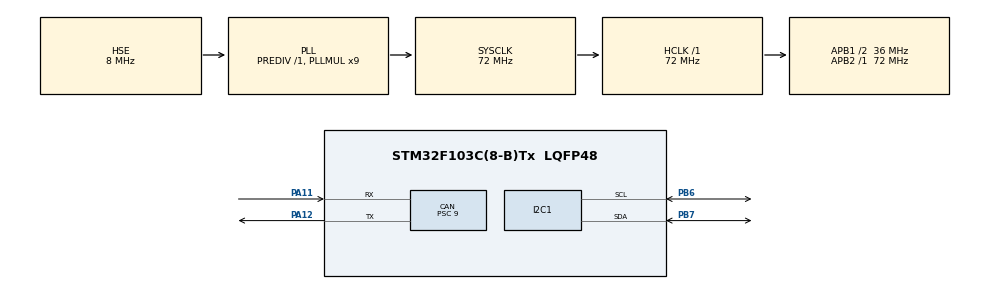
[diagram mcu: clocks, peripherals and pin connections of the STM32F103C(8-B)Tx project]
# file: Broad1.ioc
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CAN.ABOM=ENABLE
CAN.BS1=CAN_BS1_5TQ
CAN.BS2=CAN_BS2_2TQ
CAN.CalculateBaudRate=500000
CAN.CalculateTimeBit=2000
CAN.CalculateTimeQuantum=250.0
CAN.NART=ENABLE
CAN.Prescaler=9
CAN.TXFP=ENABLE
I2C1.I2C_Mode=I2C_Fast
Mcu.Family=STM32F1
Mcu.Name=STM32F103C(8-B)Tx
Mcu.Package=LQFP48
NVIC.PriorityGroup=NVIC_PRIORITYGROUP_4
NVIC.USB_LP_CAN1_RX0_IRQn=true\:0\:0\:false\:false\:true\:true\:true\:true
PA11.Mode=CAN_Activate
PA11.Signal=CAN_RX
PA12.Mode=CAN_Activate
PA12.Signal=CAN_TX
PA13.Mode=Serial_Wire
PA13.Signal=SYS_JTMS-SWDIO
PA14.Mode=Serial_Wire
PA14.Signal=SYS_JTCK-SWCLK
PB6.Mode=I2C
PB6.Signal=I2C1_SCL
PB7.Mode=I2C
PB7.Signal=I2C1_SDA
PD0-OSC_IN.Mode=HSE-External-Oscillator
PD0-OSC_IN.Signal=RCC_OSC_IN
PD1-OSC_OUT.Mode=HSE-External-Oscillator
PD1-OSC_OUT.Signal=RCC_OSC_OUT
ProjectManager.HeapSize=0x200
ProjectManager.StackSize=0x400
ProjectManager.TargetToolchain=MDK-ARM V5.32
RCC.AHBFreq_Value=72000000
RCC.APB1CLKDivider=RCC_HCLK_DIV2
RCC.APB1Freq_Value=36000000
RCC.APB1TimFreq_Value=72000000
RCC.APB2Freq_Value=72000000
RCC.APB2TimFreq_Value=72000000
RCC.HCLKFreq_Value=72000000
RCC.PLLMUL=RCC_PLL_MUL9
RCC.PLLSourceVirtual=RCC_PLLSOURCE_HSE
RCC.SYSCLKFreq_VALUE=72000000
RCC.SYSCLKSource=RCC_SYSCLKSOURCE_PLLCLK
RCC.USBFreq_Value=72000000
board=custom

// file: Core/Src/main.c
/* USER CODE BEGIN Header */
/**
  ******************************************************************************
  * @file           : main.c
  * @brief          : Main program body
  ******************************************************************************
  * @attention
  *
  * Copyright (c) 2026 STMicroelectronics.
  * All rights reserved.
  *
  * This software is licensed under terms that can be found in the LICENSE file
  * in the root directory of this software component.
  * If no LICENSE file comes with this software, it is provided AS-IS.
  *
  ******************************************************************************
  */
/* USER CODE END Header */
#include "main.h"
#include "can.h"
#include "i2c.h"
#include "gpio.h"

/* USER CODE BEGIN Includes */
#include "OLED.h"
#include "string.h"
/* USER CODE END Includes */

/* USER CODE BEGIN PD */
	uint8_t parameter[3]={'W',64,32};
	volatile uint8_t refresh_ok=0;
	uint8_t path[10][2]=
	{
//		{64,32},
//		{64,32},
//		{64,32},
//		{64,32},
//		{64,32},
//
//		{64,32},
//		{64,32},
//		{64,32},
//		{64,32},
//		{64,32}
		{2,2},//测试数据
		{4,16},
		{6,36},
		{8,40},
		{10,50},

		{12,10},
		{14,20},
		{16,30},
		{18,40},
		{20,50}
	};
/* USER CODE END PD */

void SystemClock_Config(void);

int main(void)
{

  /* MCU Configuration--------------------------------------------------------*/

  /* Reset of all peripherals, Initializes the Flash interface and the Systick. */
  HAL_Init();

  /* Configure the system clock */
  SystemClock_Config();

  /* Initialize all configured peripherals */
  MX_GPIO_Init();
  MX_CAN_Init();
  MX_I2C1_Init();
  /* USER CODE BEGIN 2 */
  OLED_Init();
  OLED_badapple();
  HAL_Delay(500);
  OLED_Clear();
  /* USER CODE END 2 */

  /* Infinite loop */
  while (1)
  {

    /* USER CODE BEGIN 3 */
	if(refresh_ok)
	{
		OLED_Clear();
		uint8_t i;
		for(i=0;i<9;i++)
		{
			memcpy(path[i],path[i+1],2);
		}
		path[9][0]=parameter[1];
		path[9][1]=parameter[2];

		OLED_DrawCar(parameter[1],parameter[2],parameter[0]);
		OLED_DrawPath(path);
		refresh_ok=0;
		OLED_Refresh();
	}
  }
  /* USER CODE END 3 */
}

void SystemClock_Config(void)
{
  RCC_OscInitTypeDef RCC_OscInitStruct = {0};
  RCC_ClkInitTypeDef RCC_ClkInitStruct = {0};

  /** Initializes the RCC Oscillators according to the specified parameters
  * in the RCC_OscInitTypeDef structure.
  */
  RCC_OscInitStruct.OscillatorType = RCC_OSCILLATORTYPE_HSE;
  RCC_OscInitStruct.HSEState = RCC_HSE_ON;
  RCC_OscInitStruct.HSEPredivValue = RCC_HSE_PREDIV_DIV1;
  RCC_OscInitStruct.HSIState = RCC_HSI_ON;
  RCC_OscInitStruct.PLL.PLLState = RCC_PLL_ON;
  RCC_OscInitStruct.PLL.PLLSource = RCC_PLLSOURCE_HSE;
  RCC_OscInitStruct.PLL.PLLMUL = RCC_PLL_MUL9;
  if (HAL_RCC_OscConfig(&RCC_OscInitStruct) != HAL_OK)
  {
    Error_Handler();
  }

  /** Initializes the CPU, AHB and APB buses clocks
  */
  RCC_ClkInitStruct.ClockType = RCC_CLOCKTYPE_HCLK|RCC_CLOCKTYPE_SYSCLK
                              |RCC_CLOCKTYPE_PCLK1|RCC_CLOCKTYPE_PCLK2;
  RCC_ClkInitStruct.SYSCLKSource = RCC_SYSCLKSOURCE_PLLCLK;
  RCC_ClkInitStruct.AHBCLKDivider = RCC_SYSCLK_DIV1;
  RCC_ClkInitStruct.APB1CLKDivider = RCC_HCLK_DIV2;
  RCC_ClkInitStruct.APB2CLKDivider = RCC_HCLK_DIV1;

  if (HAL_RCC_ClockConfig(&RCC_ClkInitStruct, FLASH_LATENCY_2) != HAL_OK)
  {
    Error_Handler();
  }
}

/* USER CODE BEGIN 4 */
void HAL_CAN_RxFifo0MsgPendingCallback(CAN_HandleTypeDef *hcan)
{
	refresh_ok=1;
	CAN_RxHeaderTypeDef r;
	uint8_t rxdata[3];
	if(HAL_CAN_GetRxMessage(hcan,CAN_RX_FIFO0,&r,rxdata)!=HAL_OK)
	{
		Error_Handler();
	}
	if(r.StdId==0x001)
	{
		if(r.RTR==CAN_RTR_DATA)
		{
			memcpy(parameter,rxdata,r.DLC);
			refresh_ok=1;
		}
	}
}
/* USER CODE END 4 */

void Error_Handler(void)
{
  __disable_irq();
  while (1)
  {
  }
}
